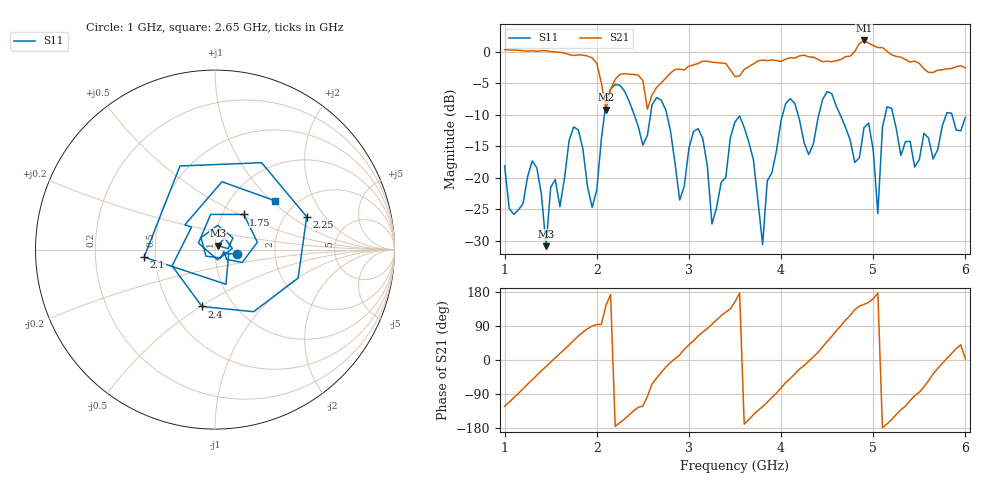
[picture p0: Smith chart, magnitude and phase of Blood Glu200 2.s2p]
! NanoVNA-App
! Date: 2024-03-21 01:11:03
! Start: 1GHz Stop: 6GHz Points: 101
! S-Parameter data: F S11 S21 S12 S22
# Hz S RI R 50
!	Frequency	S11_Real	S11_Imag	S21_Real	S21_Imag	S12_Real	S12_Imag	S22_Real	S22_Imag
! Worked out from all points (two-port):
!   101 points, 1 GHz to 6 GHz, reference 50 ohm
!   highest |S21| = 1.81 dB at 4.9 GHz (marker M1); lowest = -9.2 dB at 2.1 GHz (marker M2)
!   |S21| within 3 dB of the highest: start of sweep to 1.963 GHz; 4.652 GHz to 5.345 GHz (693 MHz wide, 13.9 % of centre)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
!   lowest |S11| = -30.9 dB at 1.45 GHz (marker M3), VSWR 1.06, Z = 51.7 + j2.34 ohm
!   |S11| at or under -10 dB: start of sweep to 2.083 GHz; 2.761 GHz to 4.017 GHz (1.256 GHz wide, 37.1 % of centre); 5.216 GHz to 5.792 GHz (576.3 MHz wide, 10.5 % of centre)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
!   S12 and S22 are empty: the file has one direction only
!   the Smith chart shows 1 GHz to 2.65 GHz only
!   S11 on the Smith chart (normalised r, x): 1 GHz: 1.28, -0.06; 1.75 GHz: 1.26, +0.53; 2.1 GHz: 0.43, -0.04; 2.25 GHz: 2.59, +1.34; 2.4 GHz: 0.71, -0.51; 2.65 GHz: 1.58, +1.06
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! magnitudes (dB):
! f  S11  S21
! 1 GHz  -18.1  0.3
! 1.35 GHz  -18.4  0.1
! 1.45 GHz  -30.9  0.2
! 1.75 GHz  -11.9  -0.6
! 1.85 GHz  -15.5  -0.5
! 1.95 GHz  -24.7  -1.0
! 2.1 GHz  -8.0  -9.2
! 2.25 GHz  -5.3  -3.6
! 2.4 GHz  -9.8  -3.6
! 2.65 GHz  -7.3  -5.7
! 2.7 GHz  -7.7  -4.9
! 2.9 GHz  -23.6  -2.8
! 3.15 GHz  -13.8  -1.5
! 3.25 GHz  -27.4  -1.6
! 3.5 GHz  -11.1  -3.9
! 3.8 GHz  -30.6  -1.3
! 4.05 GHz  -8.2  -1.2
! 4.35 GHz  -14.7  -0.9
! 4.9 GHz  -12.0  1.8
! 5.05 GHz  -25.7  0.7
! 5.2 GHz  -9.0  -0.5
! 6 GHz  -10.4  -2.5
